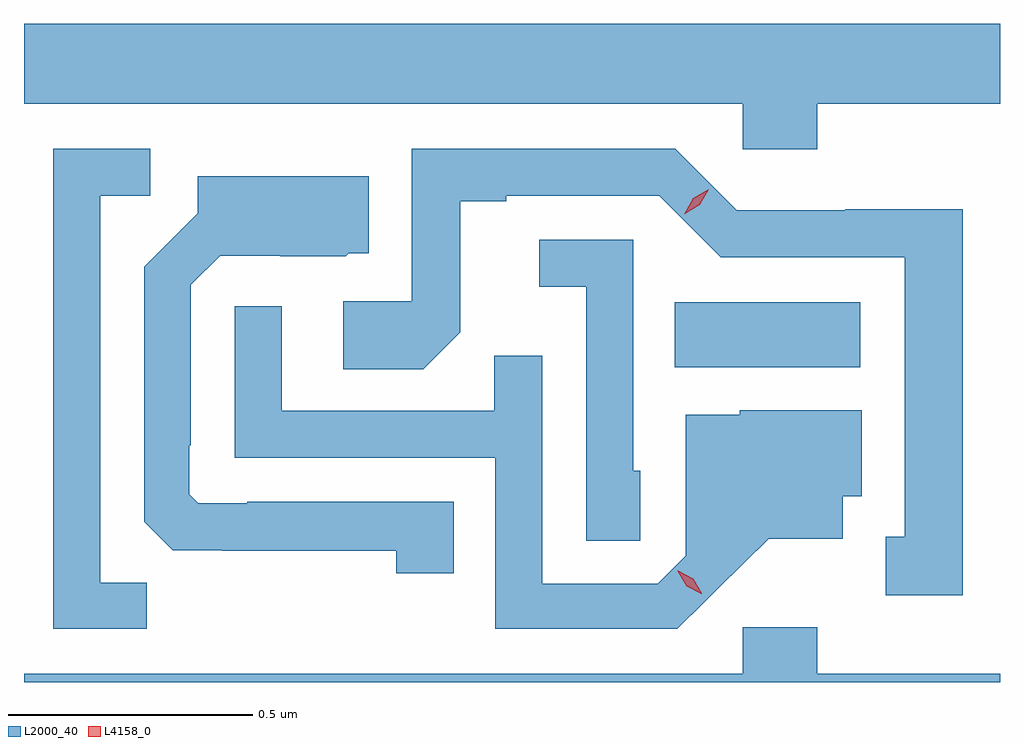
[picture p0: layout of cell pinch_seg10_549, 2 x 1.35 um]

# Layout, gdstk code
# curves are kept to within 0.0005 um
import gdstk
lib = gdstk.Library(unit=1e-6, precision=1e-09)
def R(c, l, rs):  # rectangles x0, y0, x1, y1
    for r in rs: c.add(gdstk.rectangle(r[:2], r[2:], *l))
def P(c, l, *ps):  # polygons
    for p in ps: c.add(gdstk.Polygon(p, *l))
L2000_40 = (2000, 40)
L4158_0 = (4158, 0)

pinch_seg10_549 = lib.new_cell('pinch_seg10_549')
R(pinch_seg10_549, L2000_40, [(233.938,1258.484,234.319,1258.618)])
P(pinch_seg10_549, L2000_40, [(234.23,1259.024),(234.605,1259.024),(234.605,1259.188),(232.605,1259.188),(232.605,1259.024),(234.078,1259.024),(234.078,1258.931),(234.23,1258.931)],
  [(234.529,1258.808),(234.288,1258.808),(234.288,1258.806),(234.066,1258.806),(233.94,1258.932),(233.4,1258.932),(233.4,1258.62),(233.259,1258.62),(233.259,1258.48),(233.423,1258.48),(233.499,1258.556),(233.499,1258.824),(233.593,1258.824),(233.593,1258.836),(233.907,1258.836),(234.033,1258.71),(234.41,1258.71),(234.41,1258.137),(234.371,1258.137),(234.371,1258.017),(234.529,1258.017)],
  [(232.857,1258.043),(232.761,1258.043),(232.761,1258.836),(232.864,1258.836),(232.864,1258.932),(232.665,1258.932),(232.665,1257.948),(232.857,1257.948)],
  [(233.486,1258.209),(233.062,1258.209),(233.062,1258.206),(232.962,1258.206),(232.944,1258.224),(232.944,1258.324),(232.947,1258.324),(232.947,1258.653),(233.007,1258.713),(233.13,1258.713),(233.13,1258.712),(233.264,1258.712),(233.27,1258.718),(233.311,1258.718),(233.311,1258.876),(232.961,1258.876),(232.961,1258.8),(232.851,1258.69),(232.851,1258.168),(232.91,1258.109),(233.011,1258.109),(233.011,1258.108),(233.368,1258.108),(233.368,1258.062),(233.486,1258.062)],
  [(233.868,1258.272),(233.853,1258.272),(233.853,1258.746),(233.661,1258.746),(233.661,1258.649),(233.757,1258.649),(233.757,1258.129),(233.868,1258.129)],
  [(234.001,1258.005),(234.131,1258.133),(234.283,1258.133),(234.283,1258.22),(234.322,1258.22),(234.322,1258.396),(234.072,1258.396),(234.072,1258.387),(233.961,1258.387),(233.961,1258.098),(233.904,1258.041),(233.667,1258.041),(233.667,1258.508),(233.569,1258.508),(233.569,1258.395),(233.133,1258.395),(233.133,1258.609),(233.037,1258.609),(233.037,1258.299),(233.571,1258.299),(233.571,1257.948),(233.944,1257.948)],
  [(234.605,1257.856),(234.23,1257.856),(234.23,1257.952),(234.078,1257.952),(234.078,1257.856),(232.605,1257.856),(232.605,1257.839),(234.605,1257.839)])
P(pinch_seg10_549, L4158_0, [(233.958,1258.798),(233.958,1258.798),(233.976,1258.831),(234.008,1258.849),(234.008,1258.849),(234.008,1258.849),(233.99,1258.817),(233.958,1258.798)],
  [(233.993,1258.02),(233.963,1258.036),(233.945,1258.066),(233.945,1258.067),(233.946,1258.067),(233.976,1258.051),(233.994,1258.021),(233.994,1258.02)])

lib.write_gds('pinch_seg10_549.gds')
